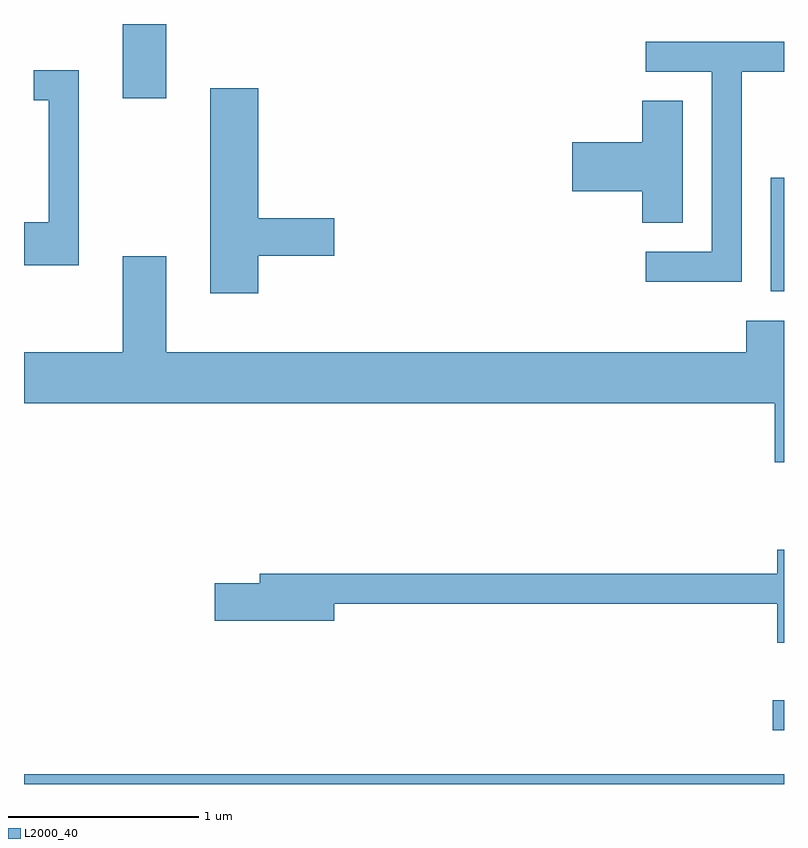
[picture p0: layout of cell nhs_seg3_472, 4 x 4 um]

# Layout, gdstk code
import gdstk
lib = gdstk.Library(unit=1e-6, precision=1e-09)
def R(c, l, rs):  # rectangles x0, y0, x1, y1
    for r in rs: c.add(gdstk.rectangle(r[:2], r[2:], *l))
def P(c, l, *ps):  # polygons
    for p in ps: c.add(gdstk.Polygon(p, *l))
L2000_40 = (2000, 40)

nhs_seg3_472 = lib.new_cell('nhs_seg3_472')
R(nhs_seg3_472, L2000_40, [(197.611,1243.892,201.611,1243.944), (201.553,1244.176,201.611,1244.334), (201.541,1246.486,201.611,1247.084), (198.131,1247.501,198.359,1247.892)])
P(nhs_seg3_472, L2000_40, [(201.389,1247.641),(201.611,1247.641),(201.611,1247.799),(200.883,1247.799),(200.883,1247.641),(201.231,1247.641),(201.231,1246.694),(200.883,1246.694),(200.883,1246.536),(201.389,1246.536)],
  [(197.899,1247.649),(197.663,1247.649),(197.663,1247.491),(197.741,1247.491),(197.741,1246.849),(197.611,1246.849),(197.611,1246.621),(197.899,1246.621)],
  [(198.844,1246.671),(199.244,1246.671),(199.244,1246.869),(198.844,1246.869),(198.844,1247.554),(198.591,1247.554),(198.591,1246.476),(198.844,1246.476)],
  [(201.079,1247.489),(200.866,1247.489),(200.866,1247.269),(200.496,1247.269),(200.496,1247.011),(200.866,1247.011),(200.866,1246.846),(201.079,1246.846)],
  [(201.611,1246.329),(201.411,1246.329),(201.411,1246.164),(198.359,1246.164),(198.359,1246.669),(198.131,1246.669),(198.131,1246.164),(197.611,1246.164),(197.611,1245.896),(201.561,1245.896),(201.561,1245.586),(201.611,1245.586)],
  [(201.611,1245.124),(201.576,1245.124),(201.576,1244.999),(198.851,1244.999),(198.851,1244.949),(198.616,1244.949),(198.616,1244.751),(199.244,1244.751),(199.244,1244.841),(201.576,1244.841),(201.576,1244.636),(201.611,1244.636)])

lib.write_gds('nhs_seg3_472.gds')
